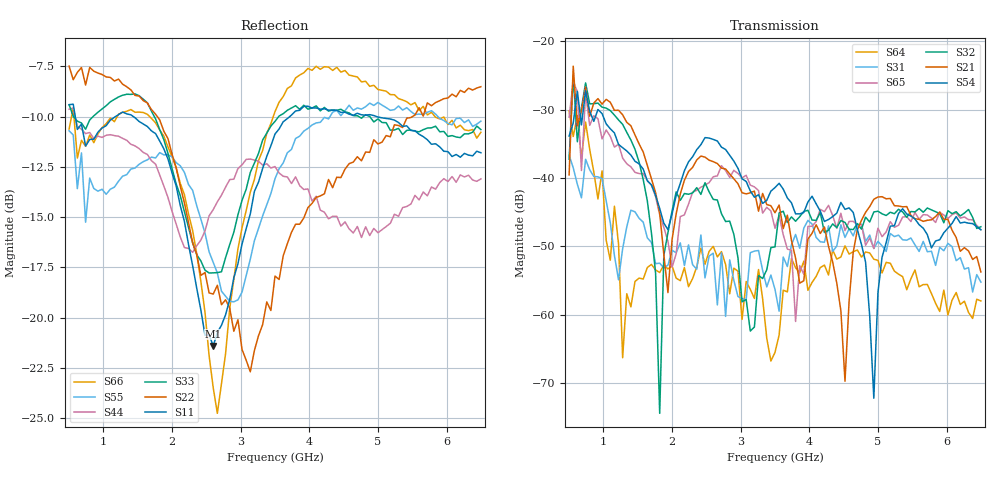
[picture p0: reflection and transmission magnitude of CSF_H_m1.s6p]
!Keysight Technologies,M9804A,MY58100912,A.14.10.03
!Date: Thursday, April 27, 2023 10:28:33
!Correction: S11(C  6-Port  )
!S12(C  6-Port  )
!S13(C  6-Port  )
!S14(C  6-Port  )
!S15(C  6-Port  )
!S16(C  6-Port  )
!S21(C  6-Port  )
!S22(C  6-Port  )
!S23(C  6-Port  )
!S24(C  6-Port  )
!S25(C  6-Port  )
!S26(C  6-Port  )
!S31(C  6-Port  )
!S32(C  6-Port  )
!S33(C  6-Port  )
!S34(C  6-Port  )
!S35(C  6-Port  )
!S36(C  6-Port  )
!S41(C  6-Port  )
!S42(C  6-Port  )
!S43(C  6-Port  )
!S44(C  6-Port  )
!S45(C  6-Port  )
!S46(C  6-Port  )
!S51(C  6-Port  )
!S52(C  6-Port  )
!S53(C  6-Port  )
!S54(C  6-Port  )
!S55(C  6-Port  )
!S56(C  6-Port  )
!S61(C  6-Port  )
!S62(C  6-Port  )
!S63(C  6-Port  )
!S64(C  6-Port  )
!S65(C  6-Port  )
!S66(C  6-Port  )
!S6P File: Measurement: :
# Hz S  RI  R 50
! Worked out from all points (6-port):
!   101 points, 500 MHz to 6.5 GHz, reference 50 ohm
!   strongest paths, dB at 500 MHz, 2 GHz, 3.5 GHz, 5 GHz, 6.5 GHz:
!     S54: -33.9, -45.2, -41.4, -56.8, -47.6
!     S21: -39.5, -49.0, -45.1, -42.8, -53.7
!     S32: -37.2, -44.8, -50.1, -44.9, -47.1
!     S65: -31.1, -53.0, -47.3, -47.3, -47.5
!     S31: -36.7, -50.6, -56.3, -49.3, -55.2
!     S64: -30.2, -52.8, -65.5, -52.0, -58.0
!   lowest |S11| = -21.4 dB at 2.6 GHz (marker M1), VSWR 1.19, Z = 42.4 + j2.18 ohm
!   |S11| at or under -10 dB: 589.4 MHz to 1.177 GHz (587.4 MHz wide, 66.5 % of centre); 1.436 GHz to 3.715 GHz (2.279 GHz wide, 88.5 % of centre); 4.98 GHz to end of sweep
